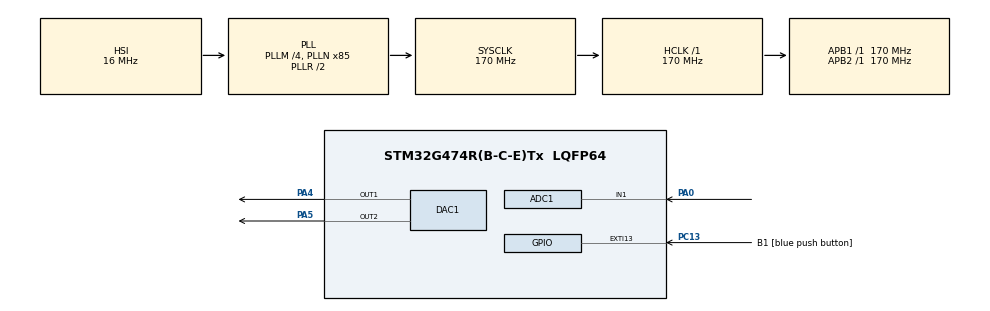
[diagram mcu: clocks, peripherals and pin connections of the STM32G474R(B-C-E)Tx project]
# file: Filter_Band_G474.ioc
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ADC1.Channel-0\#ChannelRegularConversion=ADC_CHANNEL_1
ADC1.ExternalTrigConv=ADC_EXTERNALTRIG_T2_TRGO
ADC1.NbrOfConversionFlag=1
ADC1.OffsetNumber-0\#ChannelRegularConversion=ADC_OFFSET_NONE
ADC1.Rank-0\#ChannelRegularConversion=1
ADC1.SamplingTime-0\#ChannelRegularConversion=ADC_SAMPLETIME_2CYCLES_5
ADC1.master=1
DAC1.DAC_Channel-DAC_OUT2=DAC_CHANNEL_2
Mcu.Family=STM32G4
Mcu.Name=STM32G474R(B-C-E)Tx
Mcu.Package=LQFP64
NVIC.ADC1_2_IRQn=true\:0\:0\:false\:false\:true\:true\:true\:true
NVIC.EXTI15_10_IRQn=true\:0\:0\:false\:false\:true\:true\:true\:true
NVIC.PriorityGroup=NVIC_PRIORITYGROUP_4
NVIC.TIM2_IRQn=true\:0\:0\:false\:false\:true\:true\:true\:true
NVIC.TIM6_DAC_IRQn=true\:0\:0\:false\:false\:true\:true\:true\:true
PA0.Mode=IN1-Single-Ended
PA0.Signal=ADC1_IN1
PA13.GPIO_Label=T_SWDIO
PA13.Signal=SYS_JTMS-SWDIO
PA14.GPIO_Label=T_SWCLK
PA14.Signal=SYS_JTCK-SWCLK
PA2.GPIO_Label=LPUART1_TX [STLINKV3E_VCP_RX]
PA2.Signal=LPUART1_TX
PA3.GPIO_Label=LPUART1_RX [STLINKV3E_VCP_TX]
PA3.Signal=LPUART1_RX
PA4.Signal=COMP_DAC11_group
PA5.Signal=COMP_DAC12_group
PB3.GPIO_Label=T_SWO
PB3.Signal=SYS_JTDO-SWO
PC13.GPIO_Label=B1 [blue push button]
PC13.Signal=GPXTI13
PC14-OSC32_IN.GPIO_Label=RCC_OSC32_IN
PC14-OSC32_IN.Signal=RCC_OSC32_IN
PC15-OSC32_OUT.GPIO_Label=RCC_OSC32_OUT
PC15-OSC32_OUT.Signal=RCC_OSC32_OUT
PF0-OSC_IN.GPIO_Label=RCC_OSC_IN
PF0-OSC_IN.Signal=RCC_OSC_IN
PF1-OSC_OUT.GPIO_Label=RCC_OSC_OUT
PF1-OSC_OUT.Signal=RCC_OSC_OUT
ProjectManager.HeapSize=0x200
ProjectManager.StackSize=0x400
ProjectManager.TargetToolchain=STM32CubeIDE
RCC.ADC12Freq_Value=170000000
RCC.ADC345Freq_Value=170000000
RCC.AHBFreq_Value=170000000
RCC.APB1Freq_Value=170000000
RCC.APB1TimFreq_Value=170000000
RCC.APB2Freq_Value=170000000
RCC.APB2TimFreq_Value=170000000
RCC.CortexFreq_Value=170000000
RCC.EXTERNAL_CLOCK_VALUE=12288000
RCC.HCLKFreq_Value=170000000
RCC.HSE_VALUE=24000000
RCC.HSI48_VALUE=48000000
RCC.HSI_VALUE=16000000
RCC.LSE_VALUE=32768
RCC.PLLM=RCC_PLLM_DIV4
RCC.PLLN=85
RCC.RTCClockSelection=RCC_RTCCLKSOURCE_LSE
RCC.SYSCLKFreq_VALUE=170000000
RCC.SYSCLKSource=RCC_SYSCLKSOURCE_PLLCLK
RCC.USBFreq_Value=170000000
RCC.VCOOutputFreq_Value=340000000
SH.COMP_DAC11_group.0=DAC1_OUT1,DAC_OUT1
SH.COMP_DAC12_group.0=DAC1_OUT2,DAC_OUT2
TIM2.TIM_MasterOutputTrigger=TIM_TRGO_UPDATE
VP_SYS_VS_DBSignals.Mode=DisableDeadBatterySignals
VP_TIM2_VS_ClockSourceINT.Mode=Internal
board=NUCLEO-G474RE

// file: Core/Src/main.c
/* USER CODE BEGIN Header */
/**
  ******************************************************************************
  * @file           : main.c
  * @brief          : Main program body
  ******************************************************************************
  * @attention
  *
  * Copyright (c) 2025 STMicroelectronics.
  * All rights reserved.
  *
  * This software is licensed under terms that can be found in the LICENSE file
  * in the root directory of this software component.
  * If no LICENSE file comes with this software, it is provided AS-IS.
  *
  ******************************************************************************
  */
/* USER CODE END Header */
#include "main.h"

/* USER CODE BEGIN PD */
#define CLAMP(x) ((x) < 0.0f ? 0.0f : ((x) > 4095.0f ? 4095.0f : (x)))
/* USER CODE END PD */

ADC_HandleTypeDef hadc1;

DAC_HandleTypeDef hdac1;

TIM_HandleTypeDef htim2;

/* USER CODE BEGIN PV */

// ==========================================
// 필터 계수 및 변수 정의 (fs = 10000 Hz)
// ==========================================

// [1] 2차 BPF (Band Pass Filter)
const float BPF_B0 =  0.006239871475755f;
const float BPF_B1 =  0.0f;
const float BPF_B2 = -0.006239871475755f;
const float BPF_A1 = -1.983598339827021f;
const float BPF_A2 =  0.987520257048489f;

static float bpf_x1 = 0.0f, bpf_x2 = 0.0f; // 입력 버퍼 (n-1, n-2)
static float bpf_y1 = 0.0f, bpf_y2 = 0.0f; // 출력 버퍼 (n-1, n-2)

// [2] 2차 BSF (Band Stop Filter)
const float BSF_B0 =  0.993760128524245f;
const float BSF_B1 = -1.983598339827021f;
const float BSF_B2 =  0.993760128524245f;
const float BSF_A1 = -1.983598339827021f;
const float BSF_A2 =  0.987520257048489f;

static float bsf_x1 = 0.0f, bsf_x2 = 0.0f;
static float bsf_y1 = 0.0f, bsf_y2 = 0.0f;

/* USER CODE END PV */

void SystemClock_Config(void);
static void MX_GPIO_Init(void);
static void MX_ADC1_Init(void);
static void MX_DAC1_Init(void);
static void MX_TIM2_Init(void);
/* USER CODE BEGIN PFP */

// 1. BPF 계산 함수
float apply_bpf(float x_now) {
    // 차분 방정식: y[n] = b0*x[n] + ... - a1*y[n-1] - ...
    float y_now = (BPF_B0 * x_now) + (BPF_B1 * bpf_x1) + (BPF_B2 * bpf_x2)
                                   - (BPF_A1 * bpf_y1) - (BPF_A2 * bpf_y2);

    // 상태 변수 업데이트 (Shift)
    bpf_x2 = bpf_x1; bpf_x1 = x_now;
    bpf_y2 = bpf_y1; bpf_y1 = y_now;

    return y_now;
}

// 2. BSF 계산 함수
float apply_bsf(float x_now) {
    float y_now = (BSF_B0 * x_now) + (BSF_B1 * bsf_x1) + (BSF_B2 * bsf_x2)
                                   - (BSF_A1 * bsf_y1) - (BSF_A2 * bsf_y2);

    // 상태 변수 업데이트
    bsf_x2 = bsf_x1; bsf_x1 = x_now;
    bsf_y2 = bsf_y1; bsf_y1 = y_now;

    return y_now;
}

// --- ADC 콜백 (100us 마다 실행) ---
void HAL_ADC_ConvCpltCallback(ADC_HandleTypeDef* hadc)
{
  if(hadc->Instance == ADC1)
  {
    // 1. ADC 입력 읽기
    float input_val = (float)HAL_ADC_GetValue(&hadc1);

    // 2. DC 오프셋 제거 (AC 성분만 필터링하기 위해)
    // 0~4095의 중간값인 2048을 뺍니다.
    float ac_input = input_val - 2048.0f;

    // 3. 필터 계산
    float bpf_out = apply_bpf(ac_input);
    float bsf_out = apply_bsf(ac_input);

    // 4. DC 오프셋 복구 (DAC 출력을 위해)
    float bpf_dac = bpf_out + 2048.0f;
    float bsf_dac = bsf_out + 2048.0f;

    // 5. DAC 출력
    // DAC1 Channel 1 (PA4) -> BPF 출력
    HAL_DAC_SetValue(&hdac1, DAC_CHANNEL_1, DAC_ALIGN_12B_R, (uint32_t)CLAMP(bpf_dac));

    // DAC1 Channel 2 (PA5) -> BSF 출력
    HAL_DAC_SetValue(&hdac1, DAC_CHANNEL_2, DAC_ALIGN_12B_R, (uint32_t)CLAMP(bsf_dac));
  }
}

/* USER CODE END PFP */

int main(void)
{

  /* MCU Configuration--------------------------------------------------------*/

  /* Reset of all peripherals, Initializes the Flash interface and the Systick. */
  HAL_Init();

  /* Configure the system clock */
  SystemClock_Config();

  /* Initialize all configured peripherals */
  MX_GPIO_Init();
  MX_ADC1_Init();
  MX_DAC1_Init();
  MX_TIM2_Init();
  /* USER CODE BEGIN 2 */

  HAL_DAC_Start(&hdac1, DAC_CHANNEL_1);
  HAL_DAC_Start(&hdac1, DAC_CHANNEL_2);

  HAL_TIM_Base_Start(&htim2);

  HAL_ADC_Start_IT(&hadc1);

  /* USER CODE END 2 */

  /* Infinite loop */
  while (1)
  {

  }
}

void SystemClock_Config(void)
{
  RCC_OscInitTypeDef RCC_OscInitStruct = {0};
  RCC_ClkInitTypeDef RCC_ClkInitStruct = {0};

  /** Configure the main internal regulator output voltage
  */
  HAL_PWREx_ControlVoltageScaling(PWR_REGULATOR_VOLTAGE_SCALE1_BOOST);

  /** Initializes the RCC Oscillators according to the specified parameters
  * in the RCC_OscInitTypeDef structure.
  */
  RCC_OscInitStruct.OscillatorType = RCC_OSCILLATORTYPE_HSI;
  RCC_OscInitStruct.HSIState = RCC_HSI_ON;
  RCC_OscInitStruct.HSICalibrationValue = RCC_HSICALIBRATION_DEFAULT;
  RCC_OscInitStruct.PLL.PLLState = RCC_PLL_ON;
  RCC_OscInitStruct.PLL.PLLSource = RCC_PLLSOURCE_HSI;
  RCC_OscInitStruct.PLL.PLLM = RCC_PLLM_DIV4;
  RCC_OscInitStruct.PLL.PLLN = 85;
  RCC_OscInitStruct.PLL.PLLP = RCC_PLLP_DIV2;
  RCC_OscInitStruct.PLL.PLLQ = RCC_PLLQ_DIV2;
  RCC_OscInitStruct.PLL.PLLR = RCC_PLLR_DIV2;
  if (HAL_RCC_OscConfig(&RCC_OscInitStruct) != HAL_OK)
  {
    Error_Handler();
  }

  /** Initializes the CPU, AHB and APB buses clocks
  */
  RCC_ClkInitStruct.ClockType = RCC_CLOCKTYPE_HCLK|RCC_CLOCKTYPE_SYSCLK
                              |RCC_CLOCKTYPE_PCLK1|RCC_CLOCKTYPE_PCLK2;
  RCC_ClkInitStruct.SYSCLKSource = RCC_SYSCLKSOURCE_PLLCLK;
  RCC_ClkInitStruct.AHBCLKDivider = RCC_SYSCLK_DIV1;
  RCC_ClkInitStruct.APB1CLKDivider = RCC_HCLK_DIV1;
  RCC_ClkInitStruct.APB2CLKDivider = RCC_HCLK_DIV1;

  if (HAL_RCC_ClockConfig(&RCC_ClkInitStruct, FLASH_LATENCY_4) != HAL_OK)
  {
    Error_Handler();
  }
}

static void MX_ADC1_Init(void)
{

  ADC_MultiModeTypeDef multimode = {0};
  ADC_ChannelConfTypeDef sConfig = {0};

  /** Common config
  */
  hadc1.Instance = ADC1;
  hadc1.Init.ClockPrescaler = ADC_CLOCK_SYNC_PCLK_DIV4;
  hadc1.Init.Resolution = ADC_RESOLUTION_12B;
  hadc1.Init.DataAlign = ADC_DATAALIGN_RIGHT;
  hadc1.Init.GainCompensation = 0;
  hadc1.Init.ScanConvMode = ADC_SCAN_DISABLE;
  hadc1.Init.EOCSelection = ADC_EOC_SINGLE_CONV;
  hadc1.Init.LowPowerAutoWait = DISABLE;
  hadc1.Init.ContinuousConvMode = DISABLE;
  hadc1.Init.NbrOfConversion = 1;
  hadc1.Init.DiscontinuousConvMode = DISABLE;
  hadc1.Init.ExternalTrigConv = ADC_EXTERNALTRIG_T2_TRGO;
  hadc1.Init.ExternalTrigConvEdge = ADC_EXTERNALTRIGCONVEDGE_RISING;
  hadc1.Init.DMAContinuousRequests = DISABLE;
  hadc1.Init.Overrun = ADC_OVR_DATA_PRESERVED;
  hadc1.Init.OversamplingMode = DISABLE;
  if (HAL_ADC_Init(&hadc1) != HAL_OK)
  {
    Error_Handler();
  }

  /** Configure the ADC multi-mode
  */
  multimode.Mode = ADC_MODE_INDEPENDENT;
  if (HAL_ADCEx_MultiModeConfigChannel(&hadc1, &multimode) != HAL_OK)
  {
    Error_Handler();
  }

  /** Configure Regular Channel
  */
  sConfig.Channel = ADC_CHANNEL_1;
  sConfig.Rank = ADC_REGULAR_RANK_1;
  sConfig.SamplingTime = ADC_SAMPLETIME_2CYCLES_5;
  sConfig.SingleDiff = ADC_SINGLE_ENDED;
  sConfig.OffsetNumber = ADC_OFFSET_NONE;
  sConfig.Offset = 0;
  if (HAL_ADC_ConfigChannel(&hadc1, &sConfig) != HAL_OK)
  {
    Error_Handler();
  }

}

static void MX_DAC1_Init(void)
{

  DAC_ChannelConfTypeDef sConfig = {0};

  /** DAC Initialization
  */
  hdac1.Instance = DAC1;
  if (HAL_DAC_Init(&hdac1) != HAL_OK)
  {
    Error_Handler();
  }

  /** DAC channel OUT1 config
  */
  sConfig.DAC_HighFrequency = DAC_HIGH_FREQUENCY_INTERFACE_MODE_AUTOMATIC;
  sConfig.DAC_DMADoubleDataMode = DISABLE;
  sConfig.DAC_SignedFormat = DISABLE;
  sConfig.DAC_SampleAndHold = DAC_SAMPLEANDHOLD_DISABLE;
  sConfig.DAC_Trigger = DAC_TRIGGER_NONE;
  sConfig.DAC_Trigger2 = DAC_TRIGGER_NONE;
  sConfig.DAC_OutputBuffer = DAC_OUTPUTBUFFER_ENABLE;
  sConfig.DAC_ConnectOnChipPeripheral = DAC_CHIPCONNECT_EXTERNAL;
  sConfig.DAC_UserTrimming = DAC_TRIMMING_FACTORY;
  if (HAL_DAC_ConfigChannel(&hdac1, &sConfig, DAC_CHANNEL_1) != HAL_OK)
  {
    Error_Handler();
  }

  /** DAC channel OUT2 config
  */
  if (HAL_DAC_ConfigChannel(&hdac1, &sConfig, DAC_CHANNEL_2) != HAL_OK)
  {
    Error_Handler();
  }

}

static void MX_TIM2_Init(void)
{

  TIM_ClockConfigTypeDef sClockSourceConfig = {0};
  TIM_MasterConfigTypeDef sMasterConfig = {0};

  htim2.Instance = TIM2;
  htim2.Init.Prescaler = 0;
  htim2.Init.CounterMode = TIM_COUNTERMODE_UP;
  htim2.Init.Period = 4294967295;
  htim2.Init.ClockDivision = TIM_CLOCKDIVISION_DIV1;
  htim2.Init.AutoReloadPreload = TIM_AUTORELOAD_PRELOAD_DISABLE;
  if (HAL_TIM_Base_Init(&htim2) != HAL_OK)
  {
    Error_Handler();
  }
  sClockSourceConfig.ClockSource = TIM_CLOCKSOURCE_INTERNAL;
  if (HAL_TIM_ConfigClockSource(&htim2, &sClockSourceConfig) != HAL_OK)
  {
    Error_Handler();
  }
  sMasterConfig.MasterOutputTrigger = TIM_TRGO_UPDATE;
  sMasterConfig.MasterSlaveMode = TIM_MASTERSLAVEMODE_DISABLE;
  if (HAL_TIMEx_MasterConfigSynchronization(&htim2, &sMasterConfig) != HAL_OK)
  {
    Error_Handler();
  }

}

static void MX_GPIO_Init(void)
{
  GPIO_InitTypeDef GPIO_InitStruct = {0};

  /* GPIO Ports Clock Enable */
  __HAL_RCC_GPIOC_CLK_ENABLE();
  __HAL_RCC_GPIOF_CLK_ENABLE();
  __HAL_RCC_GPIOA_CLK_ENABLE();
  __HAL_RCC_GPIOB_CLK_ENABLE();

  /*Configure GPIO pin : B1_Pin */
  GPIO_InitStruct.Pin = B1_Pin;
  GPIO_InitStruct.Mode = GPIO_MODE_IT_RISING;
  GPIO_InitStruct.Pull = GPIO_NOPULL;
  HAL_GPIO_Init(B1_GPIO_Port, &GPIO_InitStruct);

  /*Configure GPIO pins : LPUART1_TX_Pin LPUART1_RX_Pin */
  GPIO_InitStruct.Pin = LPUART1_TX_Pin|LPUART1_RX_Pin;
  GPIO_InitStruct.Mode = GPIO_MODE_AF_PP;
  GPIO_InitStruct.Pull = GPIO_NOPULL;
  GPIO_InitStruct.Speed = GPIO_SPEED_FREQ_LOW;
  GPIO_InitStruct.Alternate = GPIO_AF12_LPUART1;
  HAL_GPIO_Init(GPIOA, &GPIO_InitStruct);

  /* EXTI interrupt init*/
  HAL_NVIC_SetPriority(EXTI15_10_IRQn, 0, 0);
  HAL_NVIC_EnableIRQ(EXTI15_10_IRQn);

}

void Error_Handler(void)
{
  __disable_irq();
  while (1)
  {
  }
}
